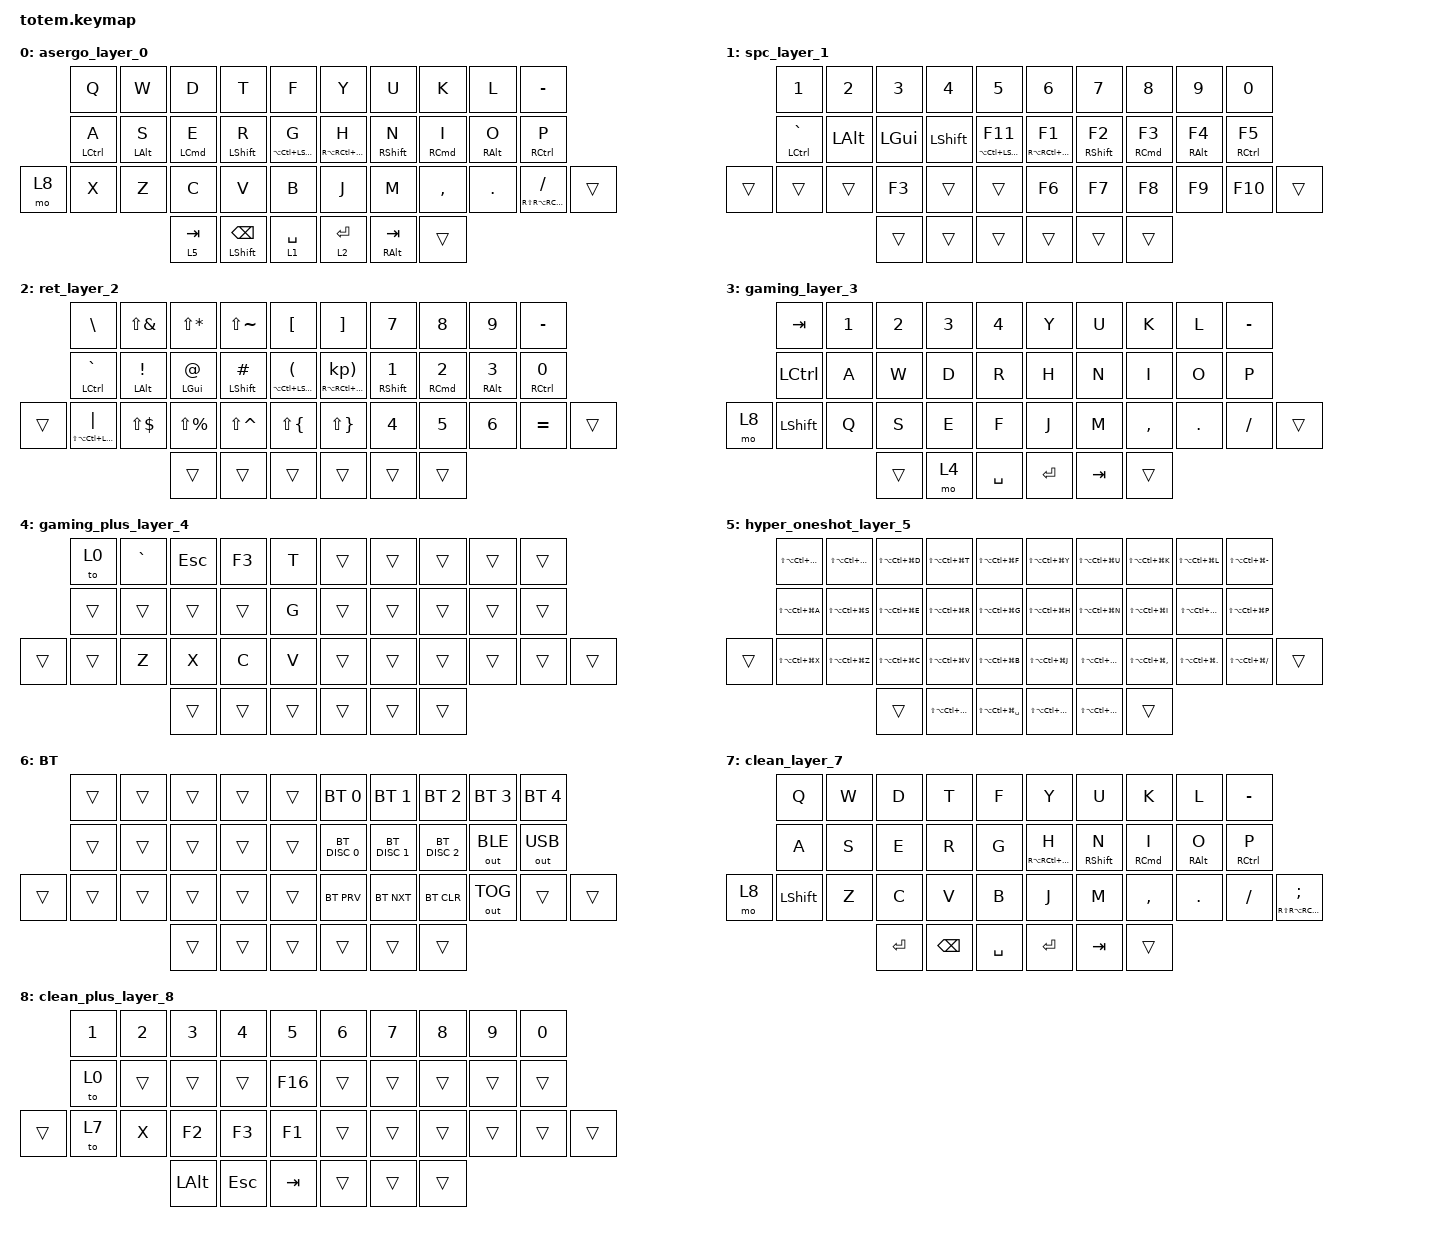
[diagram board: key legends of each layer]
#include <behaviors.dtsi>
#include <dt-bindings/zmk/bt.h>
#include <dt-bindings/zmk/keys.h>
#include <dt-bindings/zmk/outputs.h>

&mt {
    // Reverted 2026-09-11 to the pre-2026-09-08 settings, after the "balanced"
    // experiment raised mistypes and made the thumb keys unreliable.
    //
    // "tap-preferred" never turns into a modifier just because another key was
    // pressed - it only holds if you actually hold past tapping-term-ms. That
    // costs a wait before a modifier engages, and that wait is the price of
    // never misfiring mid-word. It is the right trade for this board.
    //
    // Do NOT add require-prior-idle-ms here. &mt is shared with the thumb keys
    // (position 33 = LEFT_SHIFT/BSPC, position 36 = RIGHT_ALT/TAB), and on a
    // thumb it forces a tap when you meant a hold - Backspace instead of Shift,
    // deleting a character instead of capitalising one. That was the 2026-09-08
    // regression.
    flavor = "tap-preferred";
    tapping-term-ms = <170>;
    // quick-tap-ms: tap a key, press it again within this window, and it holds
    // the LETTER (auto-repeating) instead of becoming the modifier.
    //
    // The window is measured from the FIRST PRESS, not the release - verified
    // in zmk/app/src/behaviors/behavior_hold_tap.c, where store_last_hold_tapped
    // records hold_tap->timestamp, the press. So a 90 ms tap inside a 150 ms
    // window leaves only ~60 ms to re-press. That is why this needs intent and
    // will not fire by accident.
    //
    // The cost is narrow: is_quick_tap() requires
    // last_tapped.position == hold_tap->position, so the modifier is only ever
    // delayed on the exact key just tapped - not on the keyboard generally.
    //
    // Was 100 (too tight to actually use), briefly 175 (too easy), now 150.
    // Raise to make repeat easier, lower to make the modifier available sooner
    // after tapping that same key. One dial, both directions.
    quick-tap-ms = <150>;
};

/ {
    combos {
        compatible = "zmk,combos";

        copy-combo {
            bindings = <&kp LG(C)>;
            key-positions = <12 23>;
            layers = <0>;
        };

        up-combo {
            bindings = <&kp UP_ARROW>;
            key-positions = <7 17>;
            layers = <0 3 7>;
        };

        down-combo {
            bindings = <&kp DOWN>;
            key-positions = <17 28>;
            layers = <0 3 7>;
        };

        left-combo {
            bindings = <&kp LEFT>;
            key-positions = <17 16>;
            layers = <0 3 7>;
        };

        right-combo {
            bindings = <&kp RIGHT>;
            key-positions = <17 18>;
            layers = <0 3 7>;
        };

        vol-up-combo {
            bindings = <&kp C_VOL_UP>;
            key-positions = <6 16>;
            layers = <0 3 7>;
        };

        vol-down-combo {
            bindings = <&kp C_VOL_DN>;
            key-positions = <16 27>;
            layers = <0 3 7>;
        };

        bright-up-combo {
            bindings = <&kp C_BRIGHTNESS_INC>;
            key-positions = <5 15>;
            layers = <0 3 7>;
        };

        bright-down-combo {
            bindings = <&kp C_BRIGHTNESS_DEC>;
            key-positions = <15 26>;
            layers = <0 1 2 3 6 7>;
        };

        prev-combo {
            bindings = <&kp C_PREV>;
            key-positions = <5 6>;
            layers = <0 3 7>;
        };

        pause-combo {
            bindings = <&kp C_PLAY_PAUSE>;
            key-positions = <6 7>;
            layers = <0 3 7>;
        };

        next-combo {
            bindings = <&kp C_NEXT>;
            key-positions = <7 8>;
            layers = <0 3 7>;
        };

        mute-combo {
            bindings = <&kp C_MUTE>;
            key-positions = <16 15>;
            layers = <0 3 7>;
        };

        paste-combo {
            bindings = <&kp LG(V)>;
            key-positions = <13 24>;
            layers = <0>;
        };

        stt-combo {
            bindings = <&kp LC(LA(LS(V)))>;
            key-positions = <14 25>;
            layers = <0>;
        };

        page_back {
            bindings = <&kp LG(LEFT_BRACKET)>;
            key-positions = <1 2>;
            layers = <0>;
        };

        page_next {
            bindings = <&kp LG(RIGHT_BRACKET)>;
            key-positions = <2 3>;
            layers = <0>;
        };

        sleep {
            bindings = <&kp LC(LG(Q))>;
            key-positions = <8 9>;
            layers = <0 3 7>;
        };

        colon {
            bindings = <&kp SEMI>;
            key-positions = <8 18>;
            layers = <0 3 7>;
        };

        apos {
            bindings = <&kp APOS>;
            key-positions = <9 19>;
            layers = <0 3 7>;
        };

        cmd_tab {
            bindings = <&kp LG(TAB)>;
            key-positions = <13 14>;
            layers = <0>;
        };

        esc {
            bindings = <&kp ESC>;
            key-positions = <2 12>;
            layers = <0>;
        };

        tab {
            bindings = <&kp TAB>;
            key-positions = <3 13>;
            layers = <0>;
        };

        // Changed 2026-10-08 at the owner's request: both left thumb keys
        // together - Backspace (position 33) and Space (position 34) - send
        // Return, so Return is reachable while the right hand is on the mouse.
        // Hold a home-row modifier for Shift+Return, Cmd+Return, etc.
        // Was &sl 5 (one-shot Hyper layer); layer 5 is now held on position 32.
        thumb_return {
            bindings = <&kp RET>;
            key-positions = <33 34>;
            layers = <0>;
        };

        bt_layer {
            timeout-ms = <100>;
            bindings = <&sl 6>;
            key-positions = <29 30>;
            layers = <0>;
        };

        mst {
            bindings = <&kp LS(LG(T))>;
            key-positions = <12 3>;
            layers = <0>;
        };

        raycast {
            bindings = <&kp F13>;
            key-positions = <4 14>;
            layers = <0>;
        };

        gaming_layer {
            bindings = <&tog 3>;
            key-positions = <31 37>;
            layers = <0 7>;
        };

        // layers = <0> added 2026-09-08: without it this combo is live on every
        // layer, including gaming layer 3.
        // Changed 2026-09-11 from &kp QUESTION to &kp PLUS at the owner's
        // request. Node renamed to match. Positions 19 and 30 are both on the
        // right half (row 1 outer, row 2 outer).
        plus {
            bindings = <&kp PLUS>;
            key-positions = <19 30>;
            layers = <0>;
        };

        // Added 2026-09-17 at the owner's request: G (position 14, the
        // LA(LC(LSHFT)) mod-tap) together with the left thumb Space
        // (position 34, &lt 1 SPACE) sends a plain Enter.
        // layers = <0> keeps it off the gaming layers, where position 34 is
        // the game Space and must not carry combo latency.
        //
        // Do NOT replace this with a mod-morph on the Space key. Tried on
        // 2026-09-17 and reverted the same day: ZMK's mod-morph fires on ANY
        // modifier in `mods`, never all of them, so requiring three modifiers
        // needs three nested morphs - and the modifier masking does not carry
        // through the nesting. The outer Shift survived, so the keyboard sent
        // Shift+Enter instead of Enter. The combo is the working approach; its
        // only cost is that both keys must go down inside the combo window.
        enter {
            bindings = <&kp RET>;
            key-positions = <14 34>;
            layers = <0>;
        };

        // Added 2026-10-06 at the owner's request: both right thumb keys
        // together - Enter (position 35, &lt 2 RET) and Tab (position 36,
        // &mt RIGHT_ALT TAB) - send Command+Enter, used to submit AI prompts.
        // layers = <0> keeps it off the gaming layers, where 35 and 36 are the
        // game Enter and Tab and must not wait on a combo.
        cmd_enter {
            bindings = <&kp LG(RET)>;
            key-positions = <35 36>;
            layers = <0>;
        };
    };

    behaviors {
        gui_space_tab_morph: gui_space_tab_morph {
            compatible = "zmk,behavior-mod-morph";
            label = "GUI_SPACE_TAB_MORPH";
            bindings = <&kp SPACE>, <&kp TAB>;

            #binding-cells = <0>;
            mods = <(MOD_LGUI)>;
            keep-mods = <(MOD_LGUI)>;
        };
    };

    keymap {
        compatible = "zmk,keymap";

        /*
         * Asergo is the user's primary custom non-QWERTY typing layout.
         * Its name comes from the home-row sequence A S E R G, plus O for "aser go".
         *
         * Position 32 (outer left thumb), added 2026-10-08 at the owner's
         * request: tap = Tab, hold = layer 5 (Hyper on every key) for as long
         * as the thumb stays down. Default &lt timing (tap-preferred, 200 ms):
         * hold 32 for 200 ms before tapping a letter, or you get Tab + letter.
         */

        asergo_layer_0 {
            bindings = <
       &kp Q               &kp W           &kp D               &kp T                &kp F                       &kp Y                      &kp U              &kp K                &kp L            &kp MINUS
       &mt LEFT_CONTROL A  &mt LEFT_ALT S  &mt LEFT_COMMAND E  &mt LEFT_SHIFT R     &mt LA(LC(LEFT_SHIFT)) G    &mt RA(RC(RIGHT_SHIFT)) H  &mt RIGHT_SHIFT N  &mt RIGHT_COMMAND I  &mt RIGHT_ALT O  &mt RIGHT_CONTROL P
&mo 8  &kp X               &kp Z           &kp C               &kp V                &kp B                       &kp J                      &kp M              &kp COMMA            &kp DOT          &mt RS(RA(RC(RIGHT_META))) FSLH  &trans
                                           &lt 5 TAB           &mt LEFT_SHIFT BSPC  &lt 1 SPACE                 &lt 2 RET                  &mt RIGHT_ALT TAB  &trans
            >;
        };

        spc_layer_1 {
            bindings = <
        &kp N1           &kp N2    &kp N3    &kp N4     &kp N5                        &kp N6                 &kp N7              &kp N8                &kp N9            &kp N0
        &mt LCTRL GRAVE  &kp LALT  &kp LGUI  &kp LSHFT  &mt LA(LC(LEFT_SHIFT)) F11    &mt RA(RC(RSHIFT)) F1  &mt RIGHT_SHIFT F2  &mt RIGHT_COMMAND F3  &mt RIGHT_ALT F4  &mt RIGHT_CONTROL F5
&trans  &trans           &trans    &kp F3    &trans     &trans                        &kp F6                 &kp F7              &kp F8                &kp F9            &kp F10               &trans
                                   &trans    &trans     &trans                        &trans                 &trans              &trans
            >;
        };

        ret_layer_2 {
            bindings = <
        &kp BSLH                        &kp LS(AMPS)       &kp LS(STAR)     &kp LS(TILDE)        &kp LBKT                                   &kp RBKT                                      &kp N7              &kp N8                &kp N9            &kp MINUS
        &mt LEFT_CONTROL GRAVE          &mt LEFT_ALT EXCL  &mt LEFT_GUI AT  &mt LEFT_SHIFT HASH  &mt LA(LC(LEFT_SHIFT)) LEFT_PARENTHESIS    &mt RA(RC(RIGHT_SHIFT)) KP_RIGHT_PARENTHESIS  &mt RIGHT_SHIFT N1  &mt RIGHT_COMMAND N2  &mt RIGHT_ALT N3  &mt RIGHT_CONTROL N0
&trans  &mt LS(LA(LC(LEFT_META))) PIPE  &kp LS(DLLR)       &kp LS(PRCNT)    &kp LS(CARET)        &kp LS(LBRC)                               &kp LS(RBRC)                                  &kp N4              &kp N5                &kp N6            &kp EQUAL             &trans
                                                           &trans           &trans               &trans                                     &trans                                        &trans              &trans
            >;
        };

        gaming_layer_3 {
            bindings = <
       &kp TAB           &kp N1  &kp N2  &kp N3  &kp N4       &kp Y    &kp U    &kp K      &kp L    &kp MINUS
       &kp LEFT_CONTROL  &kp A   &kp W   &kp D   &kp R        &kp H    &kp N    &kp I      &kp O    &kp P
&mo 8  &kp LSHFT         &kp Q   &kp S   &kp E   &kp F        &kp J    &kp M    &kp COMMA  &kp DOT  &kp FSLH   &trans
                                 &trans  &mo 4   &kp SPACE    &kp RET  &kp TAB  &trans
            >;
        };

        gaming_plus_layer_4 {
            bindings = <
        &to 0   &kp GRAVE  &kp ESC  &kp F3  &kp T     &trans  &trans  &trans  &trans  &trans
        &trans  &trans     &trans   &trans  &kp G     &trans  &trans  &trans  &trans  &trans
&trans  &trans  &kp Z      &kp X    &kp C   &kp V     &trans  &trans  &trans  &trans  &trans  &trans
                           &trans   &trans  &trans    &trans  &trans  &trans
            >;
        };

        hyper_oneshot_layer_5 {
            bindings = <
        &kp LS(LA(LC(LG(Q))))  &kp LS(LA(LC(LG(W))))  &kp LS(LA(LC(LG(D))))  &kp LS(LA(LC(LG(T))))     &kp LS(LA(LC(LG(F))))        &kp LS(LA(LC(LG(Y))))    &kp LS(LA(LC(LG(U))))    &kp LS(LA(LC(LG(K))))      &kp LS(LA(LC(LG(L))))    &kp LS(LA(LC(LG(MINUS))))
        &kp LS(LA(LC(LG(A))))  &kp LS(LA(LC(LG(S))))  &kp LS(LA(LC(LG(E))))  &kp LS(LA(LC(LG(R))))     &kp LS(LA(LC(LG(G))))        &kp LS(LA(LC(LG(H))))    &kp LS(LA(LC(LG(N))))    &kp LS(LA(LC(LG(I))))      &kp LS(LA(LC(LG(O))))    &kp LS(LA(LC(LG(P))))
&trans  &kp LS(LA(LC(LG(X))))  &kp LS(LA(LC(LG(Z))))  &kp LS(LA(LC(LG(C))))  &kp LS(LA(LC(LG(V))))     &kp LS(LA(LC(LG(B))))        &kp LS(LA(LC(LG(J))))    &kp LS(LA(LC(LG(M))))    &kp LS(LA(LC(LG(COMMA))))  &kp LS(LA(LC(LG(DOT))))  &kp LS(LA(LC(LG(FSLH))))   &trans
                                                      &trans                 &kp LS(LA(LC(LG(BSPC))))  &kp LS(LA(LC(LG(SPACE))))    &kp LS(LA(LC(LG(RET))))  &kp LS(LA(LC(LG(TAB))))  &trans
            >;
        };

        bt_layer_6 {
            label = "BT";
            bindings = <
        &trans  &trans  &trans  &trans  &trans    &bt BT_SEL 0   &bt BT_SEL 1   &bt BT_SEL 2   &bt BT_SEL 3  &bt BT_SEL 4
        &trans  &trans  &trans  &trans  &trans    &bt BT_DISC 0  &bt BT_DISC 1  &bt BT_DISC 2  &out OUT_BLE  &out OUT_USB
&trans  &trans  &trans  &trans  &trans  &trans    &bt BT_PRV     &bt BT_NXT     &bt BT_CLR     &out OUT_TOG  &trans        &trans
                        &trans  &trans  &trans    &trans         &trans         &trans
            >;
        };

        clean_layer_7 {
            bindings = <
       &kp Q           &kp W  &kp D      &kp T     &kp F        &kp Y                      &kp U              &kp K                &kp L            &kp MINUS
       &kp A           &kp S  &kp E      &kp R     &kp G        &mt RA(RC(RIGHT_SHIFT)) H  &mt RIGHT_SHIFT N  &mt RIGHT_COMMAND I  &mt RIGHT_ALT O  &mt RIGHT_CONTROL P
&mo 8  &kp LEFT_SHIFT  &kp Z  &kp C      &kp V     &kp B        &kp J                      &kp M              &kp COMMA            &kp DOT          &kp FSLH             &mt RS(RA(RC(RIGHT_COMMAND))) SEMI
                              &kp ENTER  &kp BSPC  &kp SPACE    &kp RET                    &kp TAB            &trans
            >;
        };

        clean_plus_layer_8 {
            bindings = <
        &kp N1  &kp N2  &kp N3    &kp N4   &kp N5     &kp N6  &kp N7  &kp N8  &kp N9  &kp N0
        &to 0   &trans  &trans    &trans   &kp F16    &trans  &trans  &trans  &trans  &trans
&trans  &to 7   &kp X   &kp F2    &kp F3   &kp F1     &trans  &trans  &trans  &trans  &trans  &trans
                        &kp LALT  &kp ESC  &kp TAB    &trans  &trans  &trans
            >;
        };
    };
};
